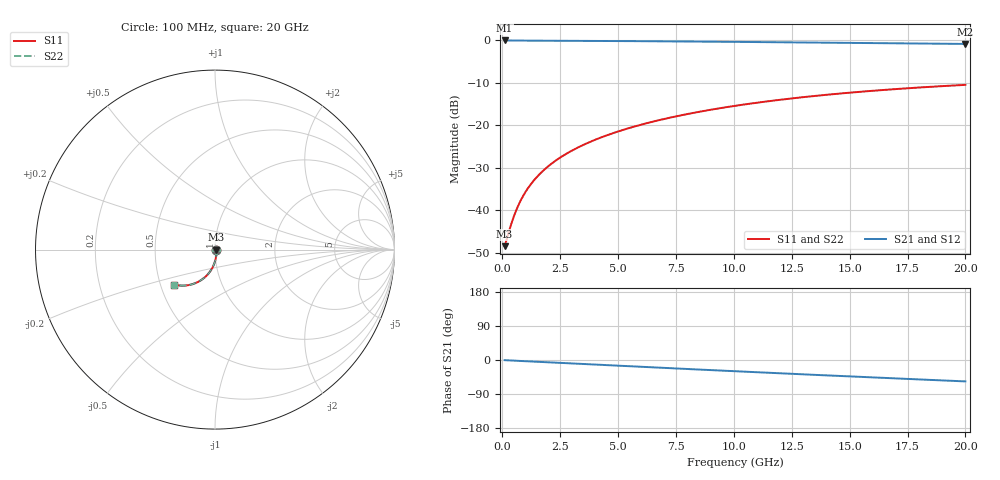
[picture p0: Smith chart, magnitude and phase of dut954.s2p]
! Touchstone file exported from HFSS 2026.1.0
!  File:  C:/ffzhzh/LocalFiles/Ansys_Project_Files/temp_train_BSMRDL_954_1783172291_43440.aedt
!  Generated:  09:39:58 PM Jul  4, 2026
!  Design:  BSMRDL
!  Project:  temp_train_BSMRDL_954_1783172291_43440
! Variables:
!  h_bsmrdl = 3.52um
!  h_ox = 20um
!  h_rdl = 5um
!  h_sub = 80um
!  h_tmrdl = 5um
!  h_tsv = 80um
!  h_via = 3um
!  l_bsmrdl = 947.59um
!  l_sub = 1347.59um
!  l_tmrdl = 200um
!  m_sub = 200um
!  pitch = 30.68um
!  r_tsv = 6um
!  s_tmrdl = 10um
!  w_bsmrdl = 29.08um
!  w_sub = 500um
!  w_tmrdl = 12um
!  x_tsv_center1 = 206um
!  x_tsv_center2 = 1182.67um
!  x_tsv_center3 = 1394.67um
!  x_tsv_center4 = 2371.34um
!  x_tsv_center5 = 2583.34um
!  x_tsv_center6 = 3560.01um
# GHz S MA R 50.000000
! Terminal data exported
! Port[1] = BSM_RDL1_1_T1
! Port[2] = BSM_RDL1_1_T2
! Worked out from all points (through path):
!   200 points, 100 MHz to 20 GHz, reference 50 ohm
!   highest |S21| = -0.03 dB at 100 MHz (marker M1); lowest = -0.9 dB at 20 GHz (marker M2)
!   group delay of S21, straight-line fit = 7.83 ps
!   lowest |S11| = -48.4 dB at 100 MHz (marker M3), VSWR 1.01, Z = 50.4 - j0.0428 ohm
!   |S11| at or under -10 dB: start of sweep to end of sweep
!   |S22| runs from -48.4 to -10.5 dB; largest |S21 - S12| = 6.2e-12
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0.1  0.003781 -6.4  0.9962 -0.4  0.9962 -0.4  0.003781 -6.4
! Gamma 0 0 0 0
! Port Impedance 50 0 50 0
0.4  0.007077 -34.2  0.9939 -1.4  0.9939 -1.4  0.007077 -34.2
0.5  0.008489 -41.3  0.9933 -1.7  0.9933 -1.7  0.008489 -41.3
0.6  0.009982 -47.1  0.9928 -2.0  0.9928 -2.0  0.009982 -47.1
0.7  0.01153 -51.9  0.9923 -2.3  0.9923 -2.3  0.01153 -51.9
0.9  0.01475 -59.2  0.9916 -2.9  0.9916 -2.9  0.01475 -59.2
1.1  0.01805 -64.6  0.9911 -3.5  0.9911 -3.5  0.01805 -64.6
1.3  0.02139 -68.7  0.9906 -4.1  0.9906 -4.1  0.02139 -68.7
1.7  0.02814 -74.6  0.9897 -5.3  0.9897 -5.3  0.02814 -74.7
2.2  0.03662 -79.8  0.9886 -6.8  0.9886 -6.8  0.03662 -79.8
2.8  0.04683 -84.1  0.9872 -8.6  0.9872 -8.6  0.04683 -84.2
3.5  0.0588 -88.0  0.9854 -10.6  0.9854 -10.6  0.0588 -88.1
4.2  0.07081 -91.2  0.9833 -12.7  0.9833 -12.7  0.07081 -91.3
5  0.08457 -94.4  0.9806 -15.1  0.9806 -15.1  0.08457 -94.5
5.9  0.1001 -97.7  0.9773 -17.7  0.9773 -17.7  0.1 -97.7
6.8  0.1155 -100.8  0.9736 -20.3  0.9736 -20.3  0.1154 -100.8
8.4  0.1425 -106.0  0.9666 -25.0  0.9666 -25.0  0.1424 -106.0
10.1  0.1702 -111.3  0.9585 -29.8  0.9585 -29.8  0.1702 -111.3
11.7  0.1952 -116.1  0.9505 -34.2  0.9505 -34.2  0.1951 -116.1
13.4  0.2201 -121.1  0.9416 -38.9  0.9416 -38.9  0.2201 -121.1
16.7  0.2634 -130.4  0.924 -47.8  0.924 -47.8  0.2633 -130.4
20  0.2991 -139.2  0.9066 -56.5  0.9066 -56.5  0.299 -139.3
